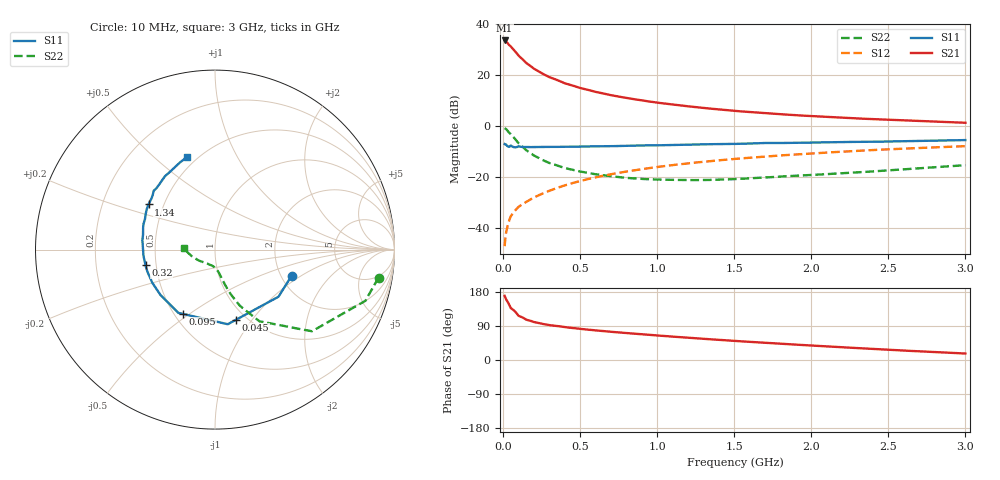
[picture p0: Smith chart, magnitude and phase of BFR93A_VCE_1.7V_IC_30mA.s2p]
! Infineon Technologies  Discrete & RF Semiconductors
! BFR93A
! VCE =  1.7 V,  IC =  30 mA
! Common Emitter S-Parameters:  Nov 2015
# GHz  S  MA  R  50
!  f  S11  S21  S12  S22
! GHz  MAG  ANG  MAG  ANG  MAG  ANG  MAG  ANG
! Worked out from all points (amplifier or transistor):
!   180 points, 10 MHz to 3 GHz, reference 50 ohm
!   highest |S21| = 33.7 dB at 10 MHz (marker M1)
!   |S21| within 3 dB of that: start of sweep to 59.76 MHz
!   unconditionally stable (mu >= 1): 310.5 MHz to end of sweep
!   at 160 MHz: K = 0.82, MSG = 26.8 dB, |S12| = -29.2 dB
!   at 1.22 GHz: K = 1.08, MAG = 9.3 dB, |S12| = -14.4 dB
!   at 3 GHz: K = 1.01, MAG = 3.9 dB, |S12| = -7.7 dB
!   S11 on the Smith chart (normalised r, x): 10 MHz: 2.28, -0.83; 45 MHz: 0.90, -0.84; 95 MHz: 0.56, -0.47; 320 MHz: 0.44, -0.09; 1.34 GHz: 0.41, +0.26; 3 GHz: 0.44, +0.65
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0.01  0.451 -18.9  48.3 169.4  0.0045 81.4  0.9244 -9.7
0.02  0.4405 -36.6  46.19 159.8  0.0084 75.7  0.8852 -18.8
0.045  0.4077 -73.2  37.96 141.5  0.0159 66.6  0.7282 -35.9
0.05  0.4218 -80.3  36.89 137.0  0.0174 65.7  0.7065 -40.1
0.095  0.4 -116.2  25.44 119.7  0.0255 61.3  0.4908 -55.6
0.1  0.4074 -120.1  24.38 116.8  0.0264 61.0  0.4702 -58.2
0.15  0.3953 -140.3  17.5 106.4  0.0331 62.4  0.3422 -66.1
0.2  0.3953 -152.2  13.54 100.2  0.0402 64.8  0.2694 -70.2
0.26  0.3958 -161.5  10.64 95.0  0.0488 66.5  0.2171 -73.3
0.3  0.3968 -165.6  9.25 92.1  0.0546 67.4  0.192 -74.8
0.32  0.3966 -167.4  8.796 91.2  0.0576 67.8  0.1841 -75.3
0.4  0.3999 -174.8  7.006 86.6  0.0698 69.1  0.1526 -78.0
0.52  0.4032 176.9  5.48 81.3  0.0881 69.2  0.1277 -81.0
0.6  0.408 172.6  4.754 78.1  0.1003 69.0  0.1153 -83.6
0.7  0.4094 168.3  4.094 74.4  0.1157 68.2  0.1057 -87.2
0.8  0.4175 164.0  3.608 71.0  0.1304 67.4  0.0979 -91.6
1.02  0.427 155.8  2.872 64.1  0.1629 64.9  0.0905 -102.0
1.34  0.4478 145.8  2.237 54.8  0.2082 60.8  0.0894 -119.5
1.52  0.4551 140.9  1.994 49.9  0.2328 58.2  0.0932 -129.5
2.02  0.4833 128.2  1.582 37.8  0.2973 51.4  0.1126 -149.7
2.52  0.5069 117.5  1.338 26.7  0.3577 43.9  0.1383 -166.6
3  0.5396 106.7  1.178 17.1  0.4102 36.8  0.1738 177.8
